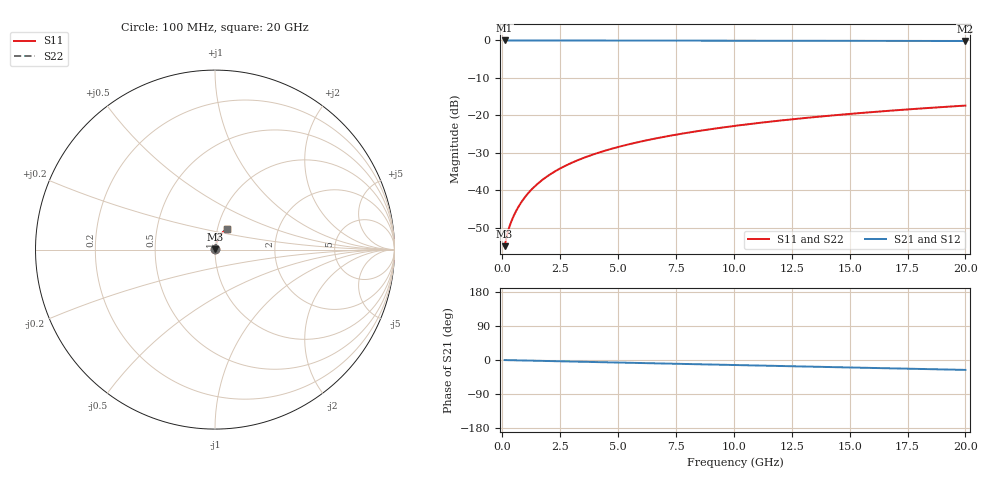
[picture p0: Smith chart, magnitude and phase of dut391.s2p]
! Touchstone file exported from HFSS 2026.1.0
!  File:  C:/ffzhzh/LocalFiles/Ansys_Project_Files/temp_train_BSMRDL_391_1783012173_53980.aedt
!  Generated:  01:10:58 AM Jul  3, 2026
!  Design:  BSMRDL
!  Project:  temp_train_BSMRDL_391_1783012173_53980
! Variables:
!  h_bsmrdl = 4.31um
!  h_ox = 20um
!  h_rdl = 5um
!  h_sub = 80um
!  h_tmrdl = 5um
!  h_tsv = 80um
!  h_via = 3um
!  l_bsmrdl = 422.88um
!  l_sub = 822.88um
!  l_tmrdl = 200um
!  m_sub = 200um
!  pitch = 40.38um
!  r_tsv = 6um
!  s_tmrdl = 10um
!  w_bsmrdl = 28.18um
!  w_sub = 500um
!  w_tmrdl = 12um
!  x_tsv_center1 = 206um
!  x_tsv_center2 = 657.06um
!  x_tsv_center3 = 869.06um
!  x_tsv_center4 = 1320.12um
!  x_tsv_center5 = 1532.12um
!  x_tsv_center6 = 1983.18um
# GHz S MA R 50.000000
! Terminal data exported
! Port[1] = BSM_RDL1_1_T1
! Port[2] = BSM_RDL1_1_T2
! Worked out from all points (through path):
!   200 points, 100 MHz to 20 GHz, reference 50 ohm
!   highest |S21| = -0.01 dB at 100 MHz (marker M1); lowest = -0.2 dB at 20 GHz (marker M2)
!   group delay of S21, straight-line fit = 3.62 ps
!   lowest |S11| = -54.9 dB at 100 MHz (marker M3), VSWR 1.00, Z = 50.1 + j0.101 ohm
!   |S11| at or under -10 dB: start of sweep to end of sweep
!   |S22| runs from -54.9 to -17.4 dB; largest |S21 - S12| = 3.2e-15
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0.1  0.001797 34.1  0.9985 -0.1  0.9985 -0.1  0.001797 34.1
! Gamma 0 0 0 0
! Port Impedance 50 0 50 0
0.2  0.00251 48.5  0.9983 -0.3  0.9983 -0.3  0.00251 48.5
0.3  0.003216 55.8  0.9982 -0.4  0.9982 -0.4  0.003216 55.8
0.4  0.00391 60.7  0.9981 -0.6  0.9981 -0.6  0.00391 60.7
0.5  0.004609 64.4  0.9981 -0.7  0.9981 -0.7  0.004609 64.4
0.6  0.00532 67.2  0.998 -0.8  0.998 -0.8  0.00532 67.2
0.8  0.006773 71.2  0.9979 -1.1  0.9979 -1.1  0.006773 71.2
1  0.008258 73.7  0.9978 -1.4  0.9978 -1.4  0.008258 73.7
1.2  0.009759 75.4  0.9978 -1.6  0.9978 -1.6  0.009759 75.4
1.4  0.01127 76.5  0.9977 -1.9  0.9977 -1.9  0.01127 76.5
1.7  0.01354 77.6  0.9975 -2.3  0.9975 -2.3  0.01354 77.6
2.2  0.01732 78.4  0.9973 -3.0  0.9973 -3.0  0.01732 78.4
2.8  0.02181 78.6  0.9969 -3.8  0.9969 -3.8  0.02181 78.6
3.5  0.02698 78.4  0.9964 -4.7  0.9964 -4.7  0.02698 78.4
4.2  0.03208 77.9  0.9959 -5.7  0.9959 -5.7  0.03208 77.9
5  0.03781 77.2  0.9953 -6.7  0.9953 -6.7  0.03781 77.2
6.8  0.05041 75.4  0.9938 -9.1  0.9938 -9.1  0.05041 75.4
8.3  0.06067 73.7  0.9926 -11.0  0.9926 -11.0  0.06066 73.7
10.1  0.07274 71.7  0.9912 -13.4  0.9912 -13.4  0.07273 71.8
13.4  0.09429 68.0  0.9884 -17.7  0.9884 -17.7  0.09429 68.0
16.7  0.1151 64.1  0.9854 -21.9  0.9854 -21.9  0.1151 64.2
20  0.135 60.2  0.9822 -26.1  0.9822 -26.1  0.135 60.2
